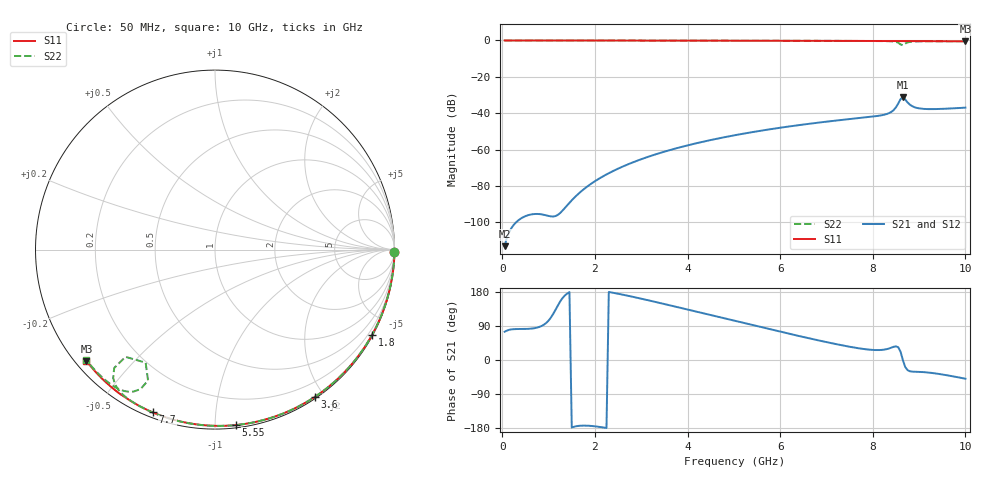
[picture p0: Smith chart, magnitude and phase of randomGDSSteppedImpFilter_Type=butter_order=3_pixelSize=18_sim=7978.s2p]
! freq	dB(S11)	phase(S11)	dB(S12)	phase(S12)
!  dB(S21)	phase(S21)	dB(S22)	phase(S22)
!S-par simulation data
#  GHz  S  DB  R 50
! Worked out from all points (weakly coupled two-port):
!   200 points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, 50 MHz to 10 GHz, reference 50 ohm
!   highest |S21| = -31.28 dB at 8.65 GHz (marker M1); lowest = -113.1 dB at 50 MHz (marker M2)
!   lowest |S11| = -0.5 dB at 10 GHz (marker M3), VSWR 36.97, Z = 1.54 - j18.6 ohm
!   |S11| at or under -10 dB: nowhere
!   |S22| runs from -2.6 to 0.0 dB; largest |S21 - S12| = 0
!   S11 on the Smith chart (normalised r, x): 50 MHz: open; 1.8 GHz: 0.03, -3.93; 3.6 GHz: 0.02, -1.89; 5.55 GHz: 0.02, -1.13; 7.7 GHz: 0.02, -0.69; 10 GHz: 0.03, -0.37
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0.05  -0.00 -0.8  -113.14 74.5  -113.14 74.5  -0.00 -0.8
1.75  -0.04 -27.8  -82.01 -173.2  -82.01 -173.2  -0.04 -28.0
1.8  -0.04 -28.5  -81.00 -173.2  -81.00 -173.2  -0.04 -28.8
1.85  -0.04 -29.3  -80.05 -173.4  -80.05 -173.4  -0.04 -29.6
2.15  -0.04 -33.9  -75.09 -177.5  -75.09 -177.5  -0.04 -34.3
2.55  -0.05 -40.1  -69.92 173.7  -69.92 173.7  -0.05 -40.4
3.4  -0.07 -52.8  -61.92 150.6  -61.92 150.6  -0.07 -53.3
3.6  -0.07 -55.7  -60.42 144.8  -60.42 144.8  -0.08 -56.3
5.05  -0.12 -76.3  -51.98 102.3  -51.98 102.3  -0.12 -77.1
5.55  -0.14 -83.1  -49.77 87.7  -49.77 87.7  -0.14 -84.0
6.7  -0.19 -98.3  -45.59 55.2  -45.59 55.2  -0.19 -99.5
7.7  -0.25 -110.9  -42.70 30.8  -42.70 30.8  -0.26 -112.9
8.35  -0.31 -119.0  -40.00 30.4  -40.00 30.4  -0.42 -123.6
8.45  -0.32 -120.2  -38.30 34.8  -38.30 34.8  -0.58 -126.5
8.55  -0.33 -121.4  -34.65 33.6  -34.65 33.6  -1.25 -130.4
8.6  -0.33 -122.0  -32.25 21.8  -32.25 21.8  -2.18 -129.8
8.65  -0.33 -122.6  -31.28 -0.4  -31.28 -0.4  -2.63 -121.5
8.7  -0.33 -123.2  -32.46 -18.4  -32.46 -18.4  -1.73 -117.1
8.75  -0.33 -123.9  -34.05 -26.6  -34.05 -26.6  -1.10 -118.1
8.85  -0.34 -125.1  -36.12 -30.7  -36.12 -30.7  -0.65 -121.4
9  -0.36 -126.9  -37.35 -31.4  -37.35 -31.4  -0.50 -124.9
10  -0.47 -139.1  -36.96 -49.4  -36.96 -49.4  -0.50 -139.4
